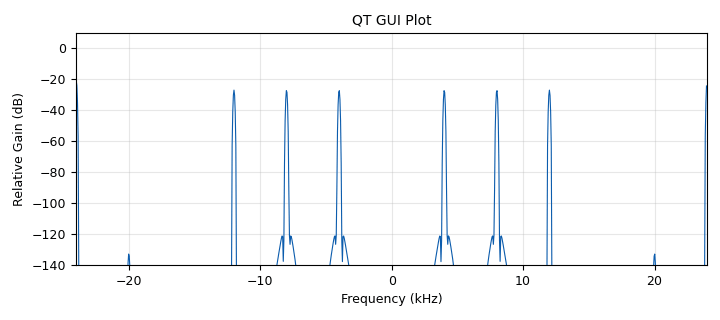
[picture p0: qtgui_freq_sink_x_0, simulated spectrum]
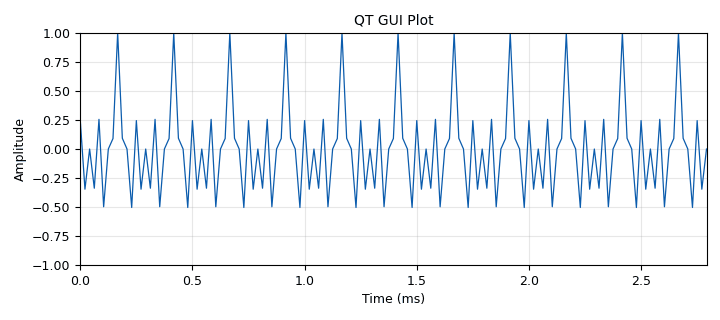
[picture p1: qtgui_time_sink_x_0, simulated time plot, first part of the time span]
options:
  parameters:
    author: uis-e3t
    generate_options: qt_gui
    id: punto3
    output_language: python
    title: Punto 3
  states: {}

blocks:
- name: samp_rate
  id: variable
  parameters:
    value: '48000'
  states: {}
- name: analog_sig_source_x_0
  id: analog_sig_source_x
  parameters:
    amp: '1'
    freq: '6000'
    offset: '0'
    phase: '0'
    samp_rate: samp_rate
    type: float
    waveform: analog.GR_COS_WAVE
  states: {}
- name: analog_sig_source_x_0_0
  id: analog_sig_source_x
  parameters:
    amp: '1'
    freq: '8000'
    offset: '0'
    phase: '0'
    samp_rate: samp_rate
    type: float
    waveform: analog.GR_COS_WAVE
  states: {}
- name: analog_sig_source_x_0_0_0
  id: analog_sig_source_x
  parameters:
    amp: '1'
    freq: '10000'
    offset: '0'
    phase: '0'
    samp_rate: samp_rate
    type: float
    waveform: analog.GR_COS_WAVE
  states: {}
- name: blocks_multiply_xx_0
  id: blocks_multiply_xx
  parameters:
    num_inputs: '3'
    type: float
  states: {}
- name: qtgui_freq_sink_x_0
  id: qtgui_freq_sink_x
  parameters:
    bw: samp_rate
    fc: '0'
    fftsize: '1024'
    name: '"QT GUI Plot"'
    type: float
    wintype: firdes.WIN_BLACKMAN_hARRIS
  states: {}
- name: qtgui_time_sink_x_0
  id: qtgui_time_sink_x
  parameters:
    name: '"QT GUI Plot"'
    size: '1024'
    srate: samp_rate
    type: float
  states: {}

connections:
- [analog_sig_source_x_0, '0', blocks_multiply_xx_0, '0']
- [analog_sig_source_x_0_0, '0', blocks_multiply_xx_0, '1']
- [analog_sig_source_x_0_0_0, '0', blocks_multiply_xx_0, '2']
- [blocks_multiply_xx_0, '0', qtgui_freq_sink_x_0, '0']
- [blocks_multiply_xx_0, '0', qtgui_time_sink_x_0, '0']

metadata:
  file_format: 1
